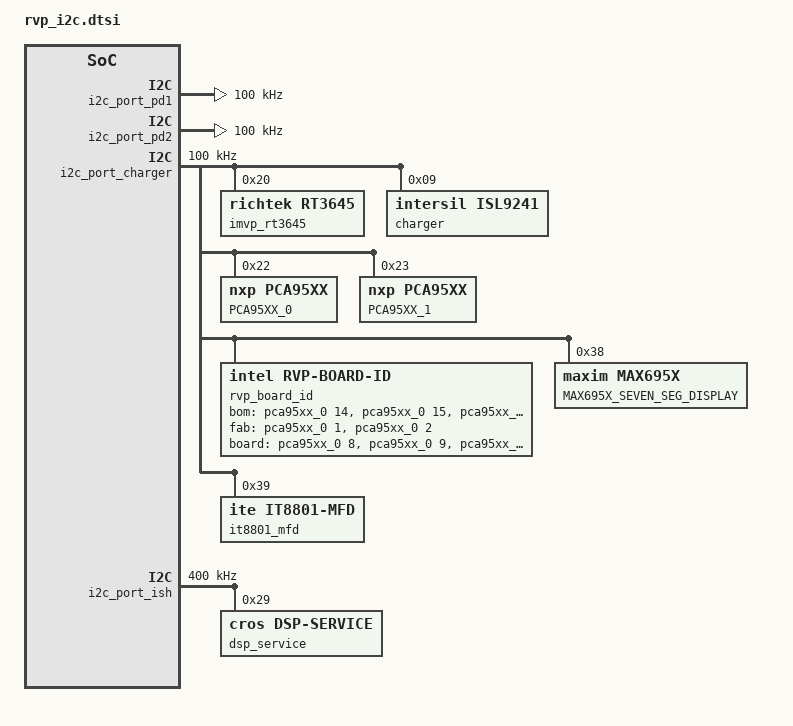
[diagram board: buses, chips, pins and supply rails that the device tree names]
/* Copyright 2025 The ChromiumOS Authors
 * Use of this source code is governed by a BSD-style license that can be
 * found in the LICENSE file.
 */

/ {
	named-i2c-ports {
		compatible = "named-i2c-ports";

		i2c_named_i2c_port_pd1: named_i2c_port_pd_aic1 {
			i2c-port = <&i2c_port_pd1>;
			enum-names = "I2C_PORT_PD";
		};
		i2c_named_i2c_port_pd2: named_i2c_port_pd_aic2 {
			i2c-port = <&i2c_port_pd2>;
			enum-names = "I2C_PORT_PD_SPARE";
		};
		i2c_named_i2c_port_charger: named_i2c_port_charger {
			i2c-port = <&i2c_port_charger>;
			enum-names = "I2C_PORT_BATTERY",
				"I2C_PORT_CHARGER",
				"I2C_PORT_PORT80";
		};
		i2c_named_i2c_port_ish: named_i2c_port_ish {
			i2c-port = <&i2c_port_ish>;
			enum-names = "I2C_PORT_ISH";
		};
	};
};

&i2c_port_pd1 {
	label = "I2C_PORT_PD";
	clock-frequency = <I2C_BITRATE_STANDARD>;
};

&i2c_port_pd2 {
	/* Port not used. All PDCs on bus i2c_port_pd1 */
	label = "I2C_PORT_PD_SPARE";
	clock-frequency = <I2C_BITRATE_STANDARD>;
};

&i2c_port_charger {
	label = "I2C_PORT_CHARGER";
	clock-frequency = <I2C_BITRATE_STANDARD>;

	imvp_rt3645: richtek-imvp@20 {
		compatible = "richtek,rt3645";
		status = "okay";
		reg = <0x20>;
	};
	charger: raa489@9 {
		compatible = "intersil,isl9241";
		status = "okay";
		reg = <0x9>;
	};
	pca95xx_0: pca95xx@22 {
		compatible = "nxp,pca95xx";
		label = "PCA95XX_0";
		reg = <0x22>;
		gpio-controller;
		#gpio-cells = <2>;
		ngpios = <16>;
		/* b/392207109: This chip is not powered when the EC boots */
		zephyr,deferred-init;
	};
	pca95xx_1: pca95xx@23 {
		compatible = "nxp,pca95xx";
		label = "PCA95XX_1";
		reg = <0x23>;
		gpio-controller;
		#gpio-cells = <2>;
		ngpios = <16>;
	};
	rvp_board_id: rvp-board-id {
		compatible = "intel,rvp-board-id";
		defer-until-s5 = <&pca95xx_0>;
		handler = "rvp_id_handler";
		bom-gpios = <&pca95xx_0 14 0>, <&pca95xx_0 15 0>,
			    <&pca95xx_0 0 0>;

		fab-gpios = <&pca95xx_0 1 0>, <&pca95xx_0 2 0>;

		board-gpios = <&pca95xx_0 8 0>, <&pca95xx_0 9 0>,
			      <&pca95xx_0 10 0>, <&pca95xx_0 11 0>,
			      <&pca95xx_0 12 0>, <&pca95xx_0 13 0>;
		zephyr,deferred-init;
	};
	seven_seg_display: max695x-seven-seg-display@38 {
		compatible = "maxim,max695x";
		reg = <0x38>;
		label = "MAX695X_SEVEN_SEG_DISPLAY";
	};
	/* This is the IOEX IC present on GCS AIC */
	it8801_mfd: it8801@39 {
		compatible = "ite,it8801-mfd";
		reg = <0x39>;
	};
};

&i2c_port_ish {
	label = "I2C_PORT_ISH";
	clock-frequency = <I2C_BITRATE_FAST>;
	dsp_service: dsp-service@29 {
		compatible = "cros,dsp-service";
		reg = <0x29>;
	};
};
